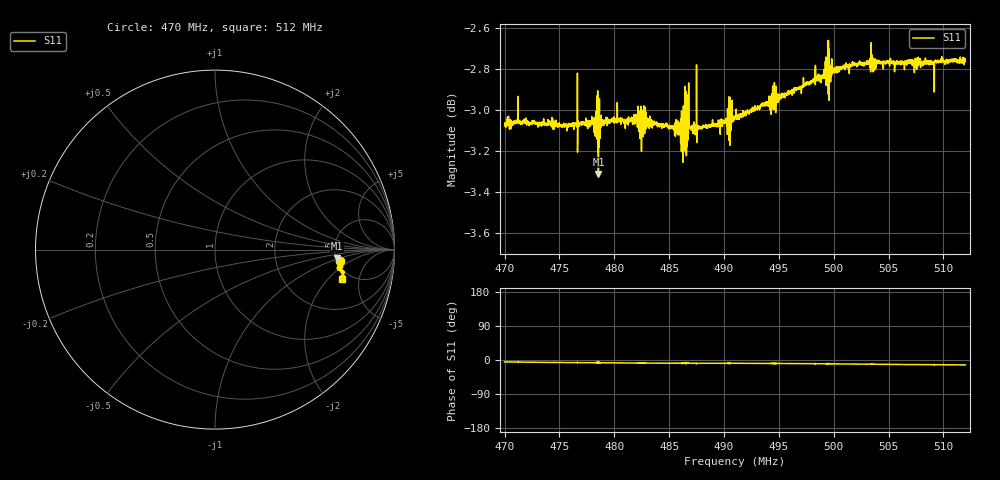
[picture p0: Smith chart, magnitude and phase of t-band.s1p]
! Calibrated averaged scanner-service zoom
# Hz S RI R 50
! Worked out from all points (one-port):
!   4001 points, 470 MHz to 512 MHz, reference 50 ohm
!   lowest |S11| = -3.3 dB at 478.5 MHz (marker M1), VSWR 5.31, Z = 257 - j45.6 ohm
!   |S11| at or under -10 dB: nowhere
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4.7e8  0.6989 -0.0619
4.71029e8  0.7002 -0.0666
4.72814e8  0.6992 -0.0734
4.7525e8  0.6966 -0.0812
4.78022e8  0.6974 -0.0876
4.781795e8  0.6967 -0.0881
4.784105e8  0.6995 -0.0867
4.78547e8  0.6814 -0.0473
4.78841e8  0.697 -0.0903
4.805e8  0.6974 -0.0934
4.820645e8  0.6973 -0.0978
4.83209e8  0.6954 -0.1018
4.8575e8  0.6919 -0.1035
4.861595e8  0.699 -0.1022
4.8659e8  0.6909 -0.106
4.86863e8  0.693 -0.1048
4.872935e8  0.693 -0.104
4.91e8  0.6969 -0.1071
4.94192e8  0.704 -0.1145
4.945385e8  0.7036 -0.1191
4.948955e8  0.7053 -0.1133
4.9625e8  0.7057 -0.1159
4.98854e8  0.7095 -0.1237
4.993475e8  0.7077 -0.1273
5.015e8  0.7137 -0.1334
5.034425e8  0.7109 -0.1447
5.0675e8  0.712 -0.1498
5.12e8  0.7094 -0.1634
